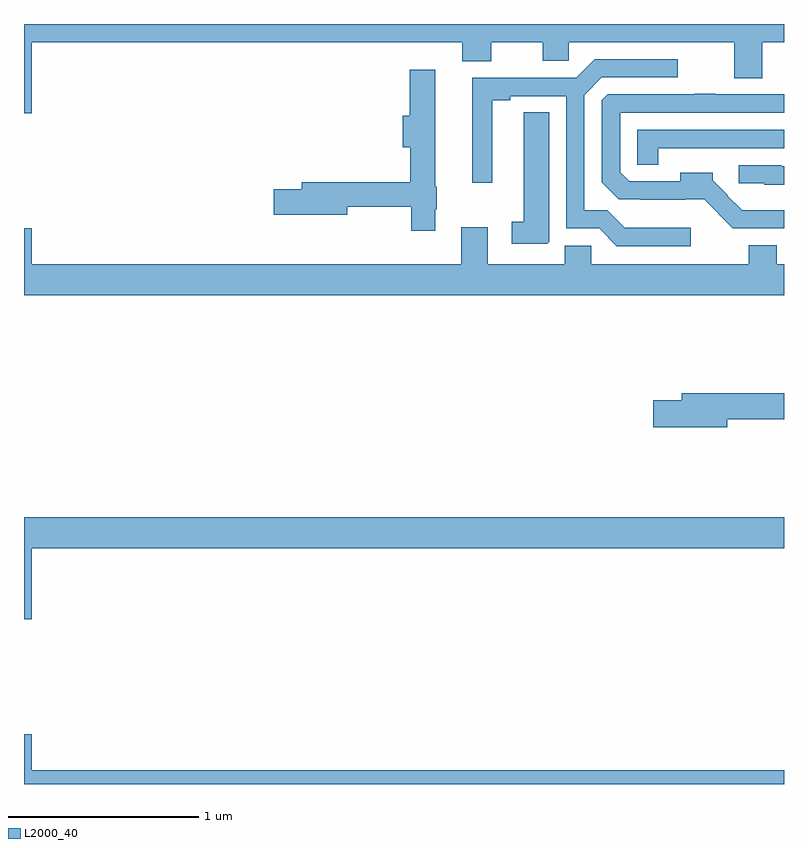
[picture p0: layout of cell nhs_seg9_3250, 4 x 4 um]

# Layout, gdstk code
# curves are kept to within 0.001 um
import gdstk
lib = gdstk.Library(unit=1e-6, precision=1e-09)
def P(c, l, *ps):  # polygons
    for p in ps: c.add(gdstk.Polygon(p, *l))
L2000_40 = (2000, 40)

nhs_seg9_3250 = lib.new_cell('nhs_seg9_3250')
P(nhs_seg9_3250, L2000_40, [(297.04,1212.404),(299.306,1212.404),(299.306,1212.305),(299.458,1212.305),(299.458,1212.404),(299.729,1212.404),(299.729,1212.306),(299.868,1212.306),(299.868,1212.404),(300.737,1212.404),(300.737,1212.214),(300.885,1212.214),(300.885,1212.404),(301,1212.404),(301,1212.5),(297,1212.5),(297,1212.03),(297.04,1212.03)],
  [(300.508,1211.428),(300.161,1211.428),(300.07,1211.519),(299.949,1211.519),(299.949,1212.126),(300.042,1212.219),(300.442,1212.219),(300.442,1212.315),(300.005,1212.315),(299.906,1212.216),(299.36,1212.216),(299.36,1211.664),(299.464,1211.664),(299.464,1212.1),(299.56,1212.1),(299.56,1212.12),(299.853,1212.12),(299.853,1211.424),(300.027,1211.424),(300.12,1211.331),(300.508,1211.331)],
  [(299.164,1211.524),(299.172,1211.524),(299.172,1211.643),(299.164,1211.643),(299.164,1212.259),(299.03,1212.259),(299.03,1212.018),(298.994,1212.018),(298.994,1211.852),(299.033,1211.852),(299.033,1211.666),(298.463,1211.666),(298.463,1211.63),(298.314,1211.63),(298.314,1211.495),(298.702,1211.495),(298.702,1211.538),(299.038,1211.538),(299.038,1211.412),(299.164,1211.412)],
  [(301,1211.521),(300.88,1211.521),(300.88,1211.519),(300.779,1211.519),(300.702,1211.595),(300.705,1211.598),(300.626,1211.677),(300.626,1211.716),(300.455,1211.716),(300.455,1211.673),(300.186,1211.673),(300.138,1211.721),(300.138,1212.033),(301,1212.033),(301,1212.129),(300.641,1212.129),(300.641,1212.134),(300.529,1212.134),(300.529,1212.129),(300.072,1212.129),(300.042,1212.099),(300.042,1211.667),(300.131,1211.578),(300.247,1211.578),(300.247,1211.576),(300.581,1211.577),(300.655,1211.503),(300.653,1211.501),(300.729,1211.424),(301,1211.424)],
  [(299.764,1211.353),(299.764,1212.035),(299.63,1212.035),(299.63,1211.459),(299.568,1211.459),(299.568,1211.343),(299.754,1211.343)],
  [(300.337,1211.846),(300.591,1211.846),(300.591,1211.847),(301,1211.847),(301,1211.943),(300.228,1211.943),(300.228,1211.758),(300.337,1211.758)],
  [(301,1211.751),(300.987,1211.751),(300.987,1211.757),(300.762,1211.757),(300.762,1211.661),(300.897,1211.661),(300.897,1211.654),(301,1211.654)],
  [(301,1211.236),(300.961,1211.236),(300.961,1211.335),(300.814,1211.335),(300.814,1211.236),(299.985,1211.236),(299.985,1211.334),(299.846,1211.334),(299.846,1211.236),(299.44,1211.236),(299.44,1211.431),(299.3,1211.431),(299.3,1211.236),(297.04,1211.236),(297.04,1211.425),(297,1211.425),(297,1211.072),(301,1211.072)],
  [(300.7,1210.42),(301,1210.42),(301,1210.556),(300.461,1210.556),(300.461,1210.52),(300.312,1210.52),(300.312,1210.378),(300.7,1210.378)],
  [(297.04,1209.74),(301,1209.74),(301,1209.904),(297,1209.904),(297,1209.366),(297.04,1209.366)],
  [(301,1208.572),(297.04,1208.572),(297.04,1208.761),(297,1208.761),(297,1208.5),(301,1208.5)])

lib.write_gds('nhs_seg9_3250.gds')
